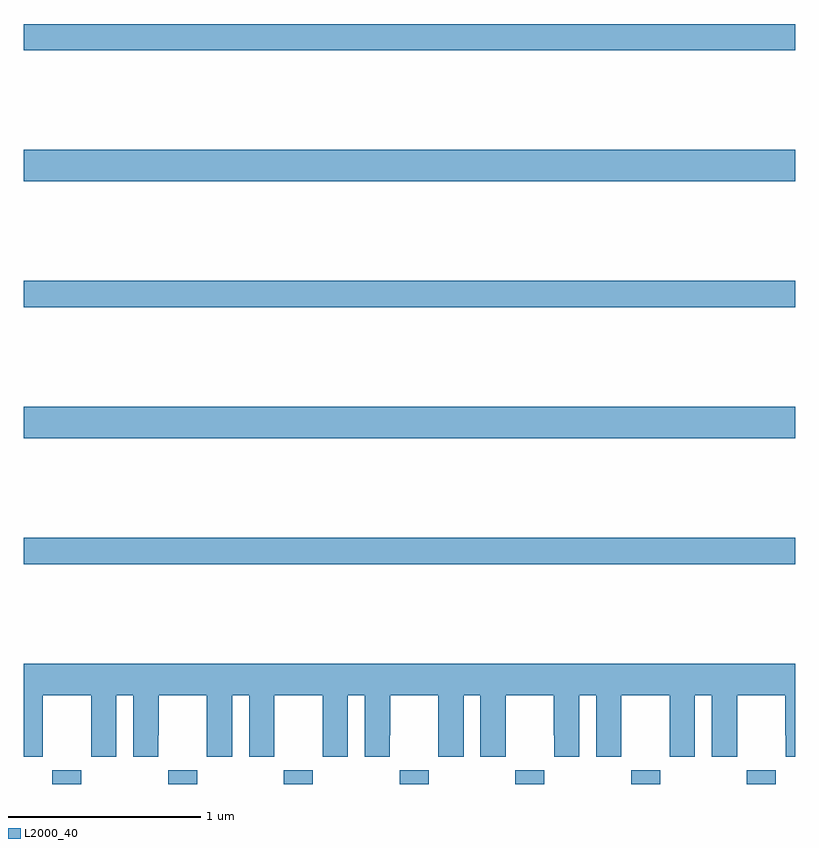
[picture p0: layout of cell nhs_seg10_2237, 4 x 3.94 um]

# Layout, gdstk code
import gdstk
lib = gdstk.Library(unit=1e-6, precision=1e-09)
def R(c, l, rs):  # rectangles x0, y0, x1, y1
    for r in rs: c.add(gdstk.rectangle(r[:2], r[2:], *l))
def A(c, l, x, y, w, h, nx, ny, dx, dy):  # array of equal rectangles
    R(c, l, [(x+i*dx, y+j*dy, x+i*dx+w, y+j*dy+h) for i in range(nx) for j in range(ny)])
def P(c, l, *ps):  # polygons
    for p in ps: c.add(gdstk.Polygon(p, *l))
L2000_40 = (2000, 40)

nhs_seg10_2237 = lib.new_cell('nhs_seg10_2237')
A(nhs_seg10_2237, L2000_40, 229.149, 1322.5, 0.15, 0.072, 7, 1, 0.6, 0)
A(nhs_seg10_2237, L2000_40, 229, 1323.64, 4, 0.136, 1, 3, 0, 1.332)
R(nhs_seg10_2237, L2000_40, [(229,1324.292,233,1324.456), (229,1325.624,233,1325.788)])
P(nhs_seg10_2237, L2000_40, [(229,1322.64),(229.098,1322.64),(229.098,1322.752),(229.099,1322.752),(229.099,1322.96),(229.349,1322.96),(229.349,1322.752),(229.35,1322.752),(229.35,1322.64),(229.48,1322.64),(229.48,1322.96),(229.568,1322.96),(229.568,1322.64),(229.698,1322.64),(229.698,1322.752),(229.699,1322.752),(229.699,1322.96),(229.949,1322.96),(229.949,1322.752),(229.95,1322.752),(229.95,1322.64),(230.08,1322.64),(230.08,1322.96),(230.168,1322.96),(230.168,1322.64),(230.298,1322.64),(230.298,1322.752),(230.299,1322.752),(230.299,1322.96),(230.549,1322.96),(230.549,1322.752),(230.55,1322.752),(230.55,1322.64),(230.68,1322.64),(230.68,1322.96),(230.768,1322.96),(230.768,1322.64),(230.898,1322.64),(230.898,1322.752),(230.899,1322.752),(230.899,1322.96),(231.149,1322.96),(231.149,1322.752),(231.15,1322.752),(231.15,1322.64),(231.28,1322.64),(231.28,1322.96),(231.368,1322.96),(231.368,1322.64),(231.498,1322.64),(231.498,1322.752),(231.499,1322.752),(231.499,1322.96),(231.749,1322.96),(231.749,1322.752),(231.75,1322.752),(231.75,1322.64),(231.88,1322.64),(231.88,1322.96),(231.968,1322.96),(231.968,1322.64),(232.098,1322.64),(232.098,1322.752),(232.099,1322.752),(232.099,1322.96),(232.349,1322.96),(232.349,1322.752),(232.35,1322.752),(232.35,1322.64),(232.48,1322.64),(232.48,1322.96),(232.568,1322.96),(232.568,1322.64),(232.698,1322.64),(232.698,1322.752),(232.699,1322.752),(232.699,1322.96),(232.949,1322.96),(232.949,1322.752),(232.95,1322.752),(232.95,1322.64),(233,1322.64),(233,1323.124),(229,1323.124)])

lib.write_gds('nhs_seg10_2237.gds')
